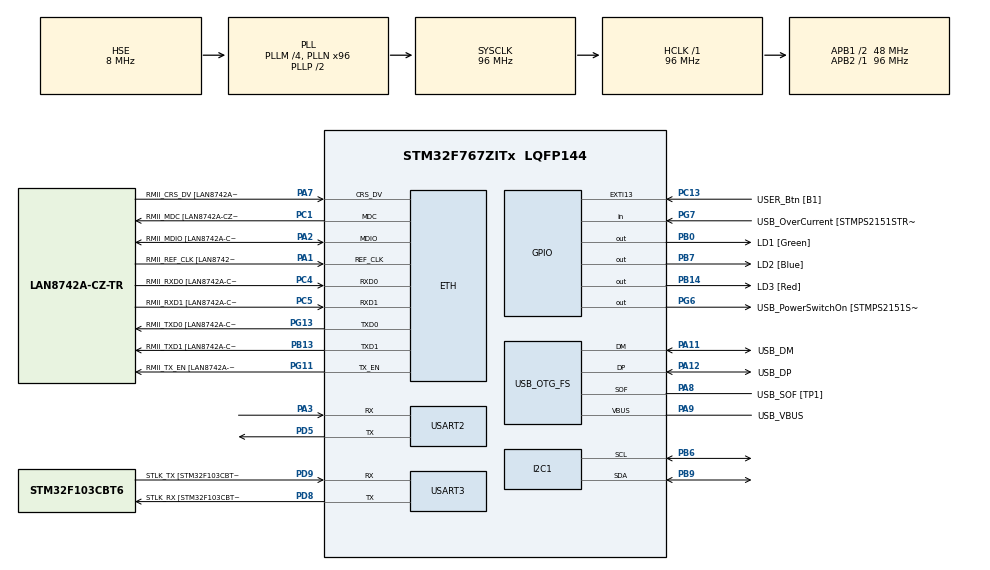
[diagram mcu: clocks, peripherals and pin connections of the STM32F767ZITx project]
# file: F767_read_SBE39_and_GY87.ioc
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CORTEX_M7.default_mode_Activation=1
ETH.MediaInterface=HAL_ETH_RMII_MODE
ETH.PHY_Name=LAN8742A_PHY_ADDRESS
ETH.PHY_Value=0
ETH.PhyAddress=0
I2C1.Timing=0x20303E5D
Mcu.Family=STM32F7
Mcu.Name=STM32F767ZITx
Mcu.Package=LQFP144
NVIC.PriorityGroup=NVIC_PRIORITYGROUP_4
PA1.GPIO_Label=RMII_REF_CLK [LAN8742A-CZ-TR_REFCLK0]
PA1.Mode=RMII
PA1.Signal=ETH_REF_CLK
PA10.GPIO_Label=USB_ID
PA10.Signal=USB_OTG_FS_ID
PA11.GPIO_Label=USB_DM
PA11.Mode=Device_Only
PA11.Signal=USB_OTG_FS_DM
PA12.GPIO_Label=USB_DP
PA12.Mode=Device_Only
PA12.Signal=USB_OTG_FS_DP
PA13.GPIO_Label=TMS
PA13.Mode=Serial_Wire
PA13.Signal=SYS_JTMS-SWDIO
PA14.GPIO_Label=TCK
PA14.Mode=Serial_Wire
PA14.Signal=SYS_JTCK-SWCLK
PA2.GPIO_Label=RMII_MDIO [LAN8742A-CZ-TR_MDIO]
PA2.Mode=RMII
PA2.Signal=ETH_MDIO
PA3.Mode=Asynchronous
PA3.Signal=USART2_RX
PA7.GPIO_Label=RMII_CRS_DV [LAN8742A-CZ-TR_CRS_DV]
PA7.Mode=RMII
PA7.Signal=ETH_CRS_DV
PA8.GPIO_Label=USB_SOF [TP1]
PA8.Mode=Activate_SOF_FS
PA8.Signal=USB_OTG_FS_SOF
PA9.GPIO_Label=USB_VBUS
PA9.Mode=Activate_VBUS
PA9.Signal=USB_OTG_FS_VBUS
PB0.GPIO_Label=LD1 [Green]
PB0.Signal=GPIO_Output
PB13.GPIO_Label=RMII_TXD1 [LAN8742A-CZ-TR_TXD1]
PB13.Mode=RMII
PB13.Signal=ETH_TXD1
PB14.GPIO_Label=LD3 [Red]
PB14.Signal=GPIO_Output
PB3.GPIO_Label=SWO
PB3.Signal=SYS_JTDO-SWO
PB6.Mode=I2C
PB6.Signal=I2C1_SCL
PB7.GPIO_Label=LD2 [Blue]
PB7.Signal=GPIO_Output
PB9.Mode=I2C
PB9.Signal=I2C1_SDA
PC1.GPIO_Label=RMII_MDC [LAN8742A-CZ-TR_MDC]
PC1.Mode=RMII
PC1.Signal=ETH_MDC
PC13.GPIO_Label=USER_Btn [B1]
PC13.Signal=GPXTI13
PC14/OSC32_IN.Mode=LSE-External-Oscillator
PC14/OSC32_IN.Signal=RCC_OSC32_IN
PC15/OSC32_OUT.Mode=LSE-External-Oscillator
PC15/OSC32_OUT.Signal=RCC_OSC32_OUT
PC4.GPIO_Label=RMII_RXD0 [LAN8742A-CZ-TR_RXD0]
PC4.Mode=RMII
PC4.Signal=ETH_RXD0
PC5.GPIO_Label=RMII_RXD1 [LAN8742A-CZ-TR_RXD1]
PC5.Mode=RMII
PC5.Signal=ETH_RXD1
PD5.Mode=Asynchronous
PD5.Signal=USART2_TX
PD8.GPIO_Label=STLK_RX [STM32F103CBT6_PA3]
PD8.Mode=Asynchronous
PD8.Signal=USART3_TX
PD9.GPIO_Label=STLK_TX [STM32F103CBT6_PA2]
PD9.Mode=Asynchronous
PD9.Signal=USART3_RX
PG11.GPIO_Label=RMII_TX_EN [LAN8742A-CZ-TR_TXEN]
PG11.Mode=RMII
PG11.Signal=ETH_TX_EN
PG13.GPIO_Label=RMII_TXD0 [LAN8742A-CZ-TR_TXD0]
PG13.Mode=RMII
PG13.Signal=ETH_TXD0
PG6.GPIO_Label=USB_PowerSwitchOn [STMPS2151STR_EN]
PG6.Signal=GPIO_Output
PG7.GPIO_Label=USB_OverCurrent [STMPS2151STR_FAULT]
PG7.Signal=GPIO_Input
PH0/OSC_IN.GPIO_Label=MCO [STM32F103CBT6_PA8]
PH0/OSC_IN.Mode=HSE-External-Clock-Source
PH0/OSC_IN.Signal=RCC_OSC_IN
PH1/OSC_OUT.Mode=HSE-External-Clock-Source
PH1/OSC_OUT.Signal=RCC_OSC_OUT
ProjectManager.HeapSize=0x200
ProjectManager.StackSize=0x400
ProjectManager.TargetToolchain=STM32CubeIDE
RCC.48MHZClocksFreq_Value=24000000
RCC.AHBFreq_Value=96000000
RCC.APB1CLKDivider=RCC_HCLK_DIV2
RCC.APB1Freq_Value=48000000
RCC.APB1TimFreq_Value=96000000
RCC.APB2Freq_Value=96000000
RCC.APB2TimFreq_Value=96000000
RCC.CortexFreq_Value=96000000
RCC.HCLKFreq_Value=96000000
RCC.HSE_VALUE=8000000
RCC.HSI_VALUE=16000000
RCC.PLLM=4
RCC.PLLMUL=RCC_PLL_MUL9
RCC.PLLN=96
RCC.PLLQ=4
RCC.PRESCALERUSB=RCC_USBCLKSOURCE_PLL_DIV1_5
RCC.SYSCLKFreq_VALUE=96000000
RCC.SYSCLKSource=RCC_SYSCLKSOURCE_PLLCLK
RCC.SYSCLKSourceVirtual=RCC_SYSCLKSOURCE_PLLCLK
RCC.USBFreq_Value=48000000
RCC.VCOOutputFreq_Value=192000000
USART2.VirtualMode-Asynchronous=VM_ASYNC
USART3.VirtualMode-Asynchronous=VM_ASYNC
USB_OTG_FS.VirtualMode=Device_Only
board=NUCLEO-F767ZI

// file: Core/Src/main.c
/* USER CODE BEGIN Header */
/* F767_read_SBE39_and_GY87 */
/**
  ******************************************************************************
  * @file           : main.c
  * @brief          : Main program body
  ******************************************************************************
  * @attention
  *
  * Copyright (c) 2026 STMicroelectronics.
  * All rights reserved.
  *
  * This software is licensed under terms that can be found in the LICENSE file
  * in the root directory of this software component.
  * If no LICENSE file comes with this software, it is provided AS-IS.
  *
  ******************************************************************************
  */
/* USER CODE END Header */
#include "main.h"
#include "string.h"

/* USER CODE BEGIN Includes */
#include <stdint.h>
#include <stdio.h>
/* USER CODE END Includes */

#if defined ( __ICCARM__ ) /*!< IAR Compiler */
#pragma location=0x2007c000
ETH_DMADescTypeDef  DMARxDscrTab[ETH_RX_DESC_CNT]; /* Ethernet Rx DMA Descriptors */
#pragma location=0x2007c0a0
ETH_DMADescTypeDef  DMATxDscrTab[ETH_TX_DESC_CNT]; /* Ethernet Tx DMA Descriptors */

#elif defined ( __CC_ARM )  /* MDK ARM Compiler */

__attribute__((at(0x2007c000))) ETH_DMADescTypeDef  DMARxDscrTab[ETH_RX_DESC_CNT]; /* Ethernet Rx DMA Descriptors */
__attribute__((at(0x2007c0a0))) ETH_DMADescTypeDef  DMATxDscrTab[ETH_TX_DESC_CNT]; /* Ethernet Tx DMA Descriptors */

#elif defined ( __GNUC__ ) /* GNU Compiler */

ETH_DMADescTypeDef DMARxDscrTab[ETH_RX_DESC_CNT] __attribute__((section(".RxDecripSection"))); /* Ethernet Rx DMA Descriptors */
ETH_DMADescTypeDef DMATxDscrTab[ETH_TX_DESC_CNT] __attribute__((section(".TxDecripSection")));   /* Ethernet Tx DMA Descriptors */
#endif

ETH_TxPacketConfig TxConfig;

ETH_HandleTypeDef heth;

I2C_HandleTypeDef hi2c1;

UART_HandleTypeDef huart2;
UART_HandleTypeDef huart3;

PCD_HandleTypeDef hpcd_USB_OTG_FS;

/* USER CODE BEGIN PV */
#define MPU6050_ADDR          (0x68 << 1)
#define MPU6050_PWR_MGMT_1    0x6B
#define MPU6050_ACCEL_XOUT_H  0x3B

#define SBE_TIMEOUT_MS        8000
#define SBE_RX_BUFFER_SIZE    120

typedef struct
{
  float ax_g;
  float ay_g;
  float az_g;
  float gx_dps;
  float gy_dps;
  float gz_dps;

  float temp_c;
} MPU6050_Data_t;

MPU6050_Data_t mpu;

char sbe_raw[SBE_RX_BUFFER_SIZE];
char pc_msg[256];

uint32_t last_read_time = 0;
/* USER CODE END PV */

void SystemClock_Config(void);
static void MPU_Config(void);
static void MX_GPIO_Init(void);
static void MX_ETH_Init(void);
static void MX_I2C1_Init(void);
static void MX_USART2_UART_Init(void);
static void MX_USART3_UART_Init(void);
static void MX_USB_OTG_FS_PCD_Init(void);
/* USER CODE BEGIN PFP */
HAL_StatusTypeDef MPU6050_Init(void);
HAL_StatusTypeDef MPU6050_Read(MPU6050_Data_t *data);
HAL_StatusTypeDef SBE39_Init(void);
HAL_StatusTypeDef SBE39_SendCommand(const char *cmd , char *buffer , uint16_t buffer_size , uint32_t timeout_ms);

/* USER CODE END PFP */

int main(void)
{

  /* MPU Configuration--------------------------------------------------------*/
  MPU_Config();

  /* MCU Configuration--------------------------------------------------------*/

  /* Reset of all peripherals, Initializes the Flash interface and the Systick. */
  HAL_Init();

  /* Configure the system clock */
  SystemClock_Config();

  /* Initialize all configured peripherals */
  MX_GPIO_Init();
  MX_ETH_Init();
  MX_I2C1_Init();
  MX_USART2_UART_Init();
  MX_USART3_UART_Init();
  MX_USB_OTG_FS_PCD_Init();
  /* USER CODE BEGIN 2 */
  HAL_UART_Transmit(&huart3 , (uint8_t *)"System start\r\n", strlen("System start\r\n") , 100);
  if (MPU6050_Init() == HAL_OK)
  {
    HAL_UART_Transmit(&huart3 , (uint8_t *)"MPU6050 init OK\r\n" , strlen("MPU6050 init OK\r\n") , 100);
  } // end mpu init ok
  else
  {
    HAL_UART_Transmit(&huart3 , (uint8_t *)"MPU6050 init ERROR\r\n" , strlen("MPU6050 init ERROR\r\n") , 100);
  } // end else

  if (SBE39_Init() == HAL_OK)
  {
    HAL_UART_Transmit(&huart3 , (uint8_t *)"SBE39 init OK\r\n" , strlen("SBE39 init OK\r\n") , 100);
  } // end SBE init ok
  else
  {
    HAL_UART_Transmit(&huart3 , (uint8_t *)"SBE init ERROR\r\n" , strlen("SBE init ERROR\r\n") , 100);
  } // end else

  /* USER CODE END 2 */

  /* Infinite loop */
  /* USER CODE BEGIN WHILE */
  while (1)
  {
    uint32_t now = HAL_GetTick();

    if (now - last_read_time >= 10000) // read data per 10 second
    {
      last_read_time = now;

      if (MPU6050_Read(&mpu) == HAL_OK)
      {
        snprintf(pc_msg , sizeof(pc_msg) ,
        "MPU,%lu,%.3f,%.3f,%.3f,%.3f,%.3f,%.3f,%.2f\r\n" , now , mpu.ax_g , mpu.ay_g , mpu.az_g , mpu.gx_dps , mpu.gy_dps , mpu.gz_dps , mpu.temp_c);

        HAL_UART_Transmit(&huart3 , (uint8_t *)pc_msg , strlen(pc_msg) , 100);
      } // end inner if
      else
      {
        HAL_UART_Transmit(&huart3 , (uint8_t *)"MPU ERROR\r\n" , strlen("MPU ERROR\r\n") , 100);
      } // end else

      if (SBE39_SendCommand("TS\r" , sbe_raw , sizeof(sbe_raw) , 5000) == HAL_OK)
      {
        snprintf(pc_msg , sizeof(pc_msg) , "SBE,%lu,%s\r\n" , now , sbe_raw);

        HAL_UART_Transmit(&huart3 , (uint8_t *)pc_msg , strlen(pc_msg) , 100);
      } // end if
      else
      {
        snprintf(pc_msg , sizeof(pc_msg) , "SBE,%lu,ERROR\r\n" , now);

        HAL_UART_Transmit(&huart3 , (uint8_t *)pc_msg , strlen(pc_msg) , 100);
      }
    } // end if
    /* USER CODE END WHILE */

  }
}

void SystemClock_Config(void)
{
  RCC_OscInitTypeDef RCC_OscInitStruct = {0};
  RCC_ClkInitTypeDef RCC_ClkInitStruct = {0};

  /** Configure LSE Drive Capability
  */
  HAL_PWR_EnableBkUpAccess();

  /** Configure the main internal regulator output voltage
  */
  __HAL_RCC_PWR_CLK_ENABLE();
  __HAL_PWR_VOLTAGESCALING_CONFIG(PWR_REGULATOR_VOLTAGE_SCALE3);

  /** Initializes the RCC Oscillators according to the specified parameters
  * in the RCC_OscInitTypeDef structure.
  */
  RCC_OscInitStruct.OscillatorType = RCC_OSCILLATORTYPE_HSE;
  RCC_OscInitStruct.HSEState = RCC_HSE_BYPASS;
  RCC_OscInitStruct.PLL.PLLState = RCC_PLL_ON;
  RCC_OscInitStruct.PLL.PLLSource = RCC_PLLSOURCE_HSE;
  RCC_OscInitStruct.PLL.PLLM = 4;
  RCC_OscInitStruct.PLL.PLLN = 96;
  RCC_OscInitStruct.PLL.PLLP = RCC_PLLP_DIV2;
  RCC_OscInitStruct.PLL.PLLQ = 4;
  RCC_OscInitStruct.PLL.PLLR = 2;
  if (HAL_RCC_OscConfig(&RCC_OscInitStruct) != HAL_OK)
  {
    Error_Handler();
  }

  /** Activate the Over-Drive mode
  */
  if (HAL_PWREx_EnableOverDrive() != HAL_OK)
  {
    Error_Handler();
  }

  /** Initializes the CPU, AHB and APB buses clocks
  */
  RCC_ClkInitStruct.ClockType = RCC_CLOCKTYPE_HCLK|RCC_CLOCKTYPE_SYSCLK
                              |RCC_CLOCKTYPE_PCLK1|RCC_CLOCKTYPE_PCLK2;
  RCC_ClkInitStruct.SYSCLKSource = RCC_SYSCLKSOURCE_PLLCLK;
  RCC_ClkInitStruct.AHBCLKDivider = RCC_SYSCLK_DIV1;
  RCC_ClkInitStruct.APB1CLKDivider = RCC_HCLK_DIV2;
  RCC_ClkInitStruct.APB2CLKDivider = RCC_HCLK_DIV1;

  if (HAL_RCC_ClockConfig(&RCC_ClkInitStruct, FLASH_LATENCY_3) != HAL_OK)
  {
    Error_Handler();
  }
}

static void MX_ETH_Init(void)
{

   static uint8_t MACAddr[6];

  heth.Instance = ETH;
  MACAddr[0] = 0x00;
  MACAddr[1] = 0x80;
  MACAddr[2] = 0xE1;
  MACAddr[3] = 0x00;
  MACAddr[4] = 0x00;
  MACAddr[5] = 0x00;
  heth.Init.MACAddr = &MACAddr[0];
  heth.Init.MediaInterface = HAL_ETH_RMII_MODE;
  heth.Init.TxDesc = DMATxDscrTab;
  heth.Init.RxDesc = DMARxDscrTab;
  heth.Init.RxBuffLen = 1524;

  if (HAL_ETH_Init(&heth) != HAL_OK)
  {
    Error_Handler();
  }

  memset(&TxConfig, 0 , sizeof(ETH_TxPacketConfig));
  TxConfig.Attributes = ETH_TX_PACKETS_FEATURES_CSUM | ETH_TX_PACKETS_FEATURES_CRCPAD;
  TxConfig.ChecksumCtrl = ETH_CHECKSUM_IPHDR_PAYLOAD_INSERT_PHDR_CALC;
  TxConfig.CRCPadCtrl = ETH_CRC_PAD_INSERT;

}

static void MX_I2C1_Init(void)
{

  hi2c1.Instance = I2C1;
  hi2c1.Init.Timing = 0x20303E5D;
  hi2c1.Init.OwnAddress1 = 0;
  hi2c1.Init.AddressingMode = I2C_ADDRESSINGMODE_7BIT;
  hi2c1.Init.DualAddressMode = I2C_DUALADDRESS_DISABLE;
  hi2c1.Init.OwnAddress2 = 0;
  hi2c1.Init.OwnAddress2Masks = I2C_OA2_NOMASK;
  hi2c1.Init.GeneralCallMode = I2C_GENERALCALL_DISABLE;
  hi2c1.Init.NoStretchMode = I2C_NOSTRETCH_DISABLE;
  if (HAL_I2C_Init(&hi2c1) != HAL_OK)
  {
    Error_Handler();
  }

  /** Configure Analogue filter
  */
  if (HAL_I2CEx_ConfigAnalogFilter(&hi2c1, I2C_ANALOGFILTER_ENABLE) != HAL_OK)
  {
    Error_Handler();
  }

  /** Configure Digital filter
  */
  if (HAL_I2CEx_ConfigDigitalFilter(&hi2c1, 0) != HAL_OK)
  {
    Error_Handler();
  }

}

static void MX_USART2_UART_Init(void)
{

  huart2.Instance = USART2;
  huart2.Init.BaudRate = 9600;
  huart2.Init.WordLength = UART_WORDLENGTH_8B;
  huart2.Init.StopBits = UART_STOPBITS_1;
  huart2.Init.Parity = UART_PARITY_NONE;
  huart2.Init.Mode = UART_MODE_TX_RX;
  huart2.Init.HwFlowCtl = UART_HWCONTROL_NONE;
  huart2.Init.OverSampling = UART_OVERSAMPLING_16;
  huart2.Init.OneBitSampling = UART_ONE_BIT_SAMPLE_DISABLE;
  huart2.AdvancedInit.AdvFeatureInit = UART_ADVFEATURE_NO_INIT;
  if (HAL_UART_Init(&huart2) != HAL_OK)
  {
    Error_Handler();
  }

}

static void MX_USART3_UART_Init(void)
{

  huart3.Instance = USART3;
  huart3.Init.BaudRate = 115200;
  huart3.Init.WordLength = UART_WORDLENGTH_8B;
  huart3.Init.StopBits = UART_STOPBITS_1;
  huart3.Init.Parity = UART_PARITY_NONE;
  huart3.Init.Mode = UART_MODE_TX_RX;
  huart3.Init.HwFlowCtl = UART_HWCONTROL_NONE;
  huart3.Init.OverSampling = UART_OVERSAMPLING_16;
  huart3.Init.OneBitSampling = UART_ONE_BIT_SAMPLE_DISABLE;
  huart3.AdvancedInit.AdvFeatureInit = UART_ADVFEATURE_NO_INIT;
  if (HAL_UART_Init(&huart3) != HAL_OK)
  {
    Error_Handler();
  }

}

static void MX_USB_OTG_FS_PCD_Init(void)
{

  hpcd_USB_OTG_FS.Instance = USB_OTG_FS;
  hpcd_USB_OTG_FS.Init.dev_endpoints = 6;
  hpcd_USB_OTG_FS.Init.speed = PCD_SPEED_FULL;
  hpcd_USB_OTG_FS.Init.dma_enable = DISABLE;
  hpcd_USB_OTG_FS.Init.phy_itface = PCD_PHY_EMBEDDED;
  hpcd_USB_OTG_FS.Init.Sof_enable = ENABLE;
  hpcd_USB_OTG_FS.Init.low_power_enable = DISABLE;
  hpcd_USB_OTG_FS.Init.lpm_enable = DISABLE;
  hpcd_USB_OTG_FS.Init.vbus_sensing_enable = ENABLE;
  hpcd_USB_OTG_FS.Init.use_dedicated_ep1 = DISABLE;
  if (HAL_PCD_Init(&hpcd_USB_OTG_FS) != HAL_OK)
  {
    Error_Handler();
  }

}

static void MX_GPIO_Init(void)
{
  GPIO_InitTypeDef GPIO_InitStruct = {0};

  /* GPIO Ports Clock Enable */
  __HAL_RCC_GPIOC_CLK_ENABLE();
  __HAL_RCC_GPIOH_CLK_ENABLE();
  __HAL_RCC_GPIOA_CLK_ENABLE();
  __HAL_RCC_GPIOB_CLK_ENABLE();
  __HAL_RCC_GPIOD_CLK_ENABLE();
  __HAL_RCC_GPIOG_CLK_ENABLE();

  /*Configure GPIO pin Output Level */
  HAL_GPIO_WritePin(GPIOB, LD1_Pin|LD3_Pin|LD2_Pin, GPIO_PIN_RESET);

  /*Configure GPIO pin Output Level */
  HAL_GPIO_WritePin(USB_PowerSwitchOn_GPIO_Port, USB_PowerSwitchOn_Pin, GPIO_PIN_RESET);

  /*Configure GPIO pin : USER_Btn_Pin */
  GPIO_InitStruct.Pin = USER_Btn_Pin;
  GPIO_InitStruct.Mode = GPIO_MODE_IT_RISING;
  GPIO_InitStruct.Pull = GPIO_NOPULL;
  HAL_GPIO_Init(USER_Btn_GPIO_Port, &GPIO_InitStruct);

  /*Configure GPIO pins : LD1_Pin LD3_Pin LD2_Pin */
  GPIO_InitStruct.Pin = LD1_Pin|LD3_Pin|LD2_Pin;
  GPIO_InitStruct.Mode = GPIO_MODE_OUTPUT_PP;
  GPIO_InitStruct.Pull = GPIO_NOPULL;
  GPIO_InitStruct.Speed = GPIO_SPEED_FREQ_LOW;
  HAL_GPIO_Init(GPIOB, &GPIO_InitStruct);

  /*Configure GPIO pin : USB_PowerSwitchOn_Pin */
  GPIO_InitStruct.Pin = USB_PowerSwitchOn_Pin;
  GPIO_InitStruct.Mode = GPIO_MODE_OUTPUT_PP;
  GPIO_InitStruct.Pull = GPIO_NOPULL;
  GPIO_InitStruct.Speed = GPIO_SPEED_FREQ_LOW;
  HAL_GPIO_Init(USB_PowerSwitchOn_GPIO_Port, &GPIO_InitStruct);

  /*Configure GPIO pin : USB_OverCurrent_Pin */
  GPIO_InitStruct.Pin = USB_OverCurrent_Pin;
  GPIO_InitStruct.Mode = GPIO_MODE_INPUT;
  GPIO_InitStruct.Pull = GPIO_NOPULL;
  HAL_GPIO_Init(USB_OverCurrent_GPIO_Port, &GPIO_InitStruct);

}

/* USER CODE BEGIN 4 */
HAL_StatusTypeDef MPU6050_Init(void)
{
  uint8_t data;

  // wake up
  data = 0x00;
  if (HAL_I2C_Mem_Write(&hi2c1 , MPU6050_ADDR , MPU6050_PWR_MGMT_1 , 1 , &data , 1 , 100) != HAL_OK)
  {
    return HAL_ERROR;
  } // end if

  HAL_Delay(100);
  return HAL_OK;
} // end function MPU6050_Init

HAL_StatusTypeDef SBE39_Init(void)
{
  char buffer[256];

  // wake up
  HAL_UART_Transmit(&huart2 , (uint8_t *)"\r" , 1 , 100);

  HAL_Delay(2000);

  // Clear old data
  uint8_t ch;
  while (HAL_UART_Receive(&huart2 ,  &ch , 1 , 20) == HAL_OK)
  {
    // discard old byte
  } // end while

  // test communication using DS command
  if (SBE39_SendCommand("DS\r" , buffer , sizeof(buffer) , 2000) == HAL_OK)
  {
    HAL_UART_Transmit(&huart3 , (uint8_t *)"SBE39 init OK\r\n" , strlen("SBE39 init OK\r\n") , 100);

    return HAL_OK;
  } // end if

  HAL_UART_Transmit(&huart3 , (uint8_t *)"SBE39 init ERROR\r\n" , strlen("SBE39 init ERROR\r\n") , 100);

  return HAL_ERROR;

} // end function SBE39_Init

HAL_StatusTypeDef MPU6050_Read(MPU6050_Data_t *data)
{
  uint8_t raw[14];

  if (HAL_I2C_Mem_Read(&hi2c1 , MPU6050_ADDR , MPU6050_ACCEL_XOUT_H , 1 , raw , 14 , 100) != HAL_OK)
  {
    return HAL_ERROR;
  } // end if

  int16_t ax_raw = (int16_t)(raw[0] << 8 | raw[1]);
  int16_t ay_raw = (int16_t)(raw[2] << 8 | raw[3]);
  int16_t az_raw = (int16_t)(raw[4] << 8 | raw[5]);

  int16_t temp_raw = (int16_t)(raw[6] << 8 | raw[7]);

  int16_t gx_raw = (int16_t)(raw[8] << 8 | raw[9]);
  int16_t gy_raw = (int16_t)(raw[10] << 8 | raw[11]);
  int16_t gz_raw = (int16_t)(raw[12] << 8 | raw[13]);

  // Default range
  data->ax_g = ax_raw / 16384.0f;
  data->ay_g = ay_raw / 16384.0f;
  data->az_g = az_raw / 16384.0f;

  data->gx_dps = gx_raw / 131.0f;
  data->gy_dps = gy_raw / 131.0f;
  data->gz_dps = gz_raw / 131.0f;

  data->temp_c = (temp_raw / 340.0f) + 36.53f;

  return HAL_OK;
} // end function MPU6050_Read

HAL_StatusTypeDef SBE39_SendCommand(const char *cmd , char *buffer , uint16_t buffer_size , uint32_t timeout_ms)
{
  uint8_t ch;
  uint16_t idx = 0;
  uint32_t start_time;

  memset(buffer , 0 , buffer_size);

  HAL_UART_Transmit(&huart2 , (uint8_t *)cmd , strlen(cmd) , 100);

  start_time = HAL_GetTick();

  while ((HAL_GetTick() - start_time) < timeout_ms)
  {
    if (HAL_UART_Receive(&huart2 , &ch , 1 , 20) == HAL_OK)
    {
      if (idx < buffer_size - 1)
      {
        buffer[idx++] = ch;
      } // end inner if

      start_time = HAL_GetTick();
    } // end if
  } // end while

  buffer[idx] = '\0';

  if (idx > 0)
  {
    return HAL_OK;
  } // end if

  strcpy(buffer , "NO_DATA");
  return HAL_TIMEOUT;

} // end function SBE39_SendCommand
/* USER CODE END 4 */

 /* MPU Configuration */

void MPU_Config(void)
{
  MPU_Region_InitTypeDef MPU_InitStruct = {0};

  /* Disables the MPU */
  HAL_MPU_Disable();

  /** Initializes and configures the Region and the memory to be protected
  */
  MPU_InitStruct.Enable = MPU_REGION_ENABLE;
  MPU_InitStruct.Number = MPU_REGION_NUMBER0;
  MPU_InitStruct.BaseAddress = 0x0;
  MPU_InitStruct.Size = MPU_REGION_SIZE_4GB;
  MPU_InitStruct.SubRegionDisable = 0x87;
  MPU_InitStruct.TypeExtField = MPU_TEX_LEVEL0;
  MPU_InitStruct.AccessPermission = MPU_REGION_NO_ACCESS;
  MPU_InitStruct.DisableExec = MPU_INSTRUCTION_ACCESS_DISABLE;
  MPU_InitStruct.IsShareable = MPU_ACCESS_SHAREABLE;
  MPU_InitStruct.IsCacheable = MPU_ACCESS_NOT_CACHEABLE;
  MPU_InitStruct.IsBufferable = MPU_ACCESS_NOT_BUFFERABLE;

  HAL_MPU_ConfigRegion(&MPU_InitStruct);
  /* Enables the MPU */
  HAL_MPU_Enable(MPU_PRIVILEGED_DEFAULT);

}

void Error_Handler(void)
{
  __disable_irq();
  while (1)
  {
  }
}
